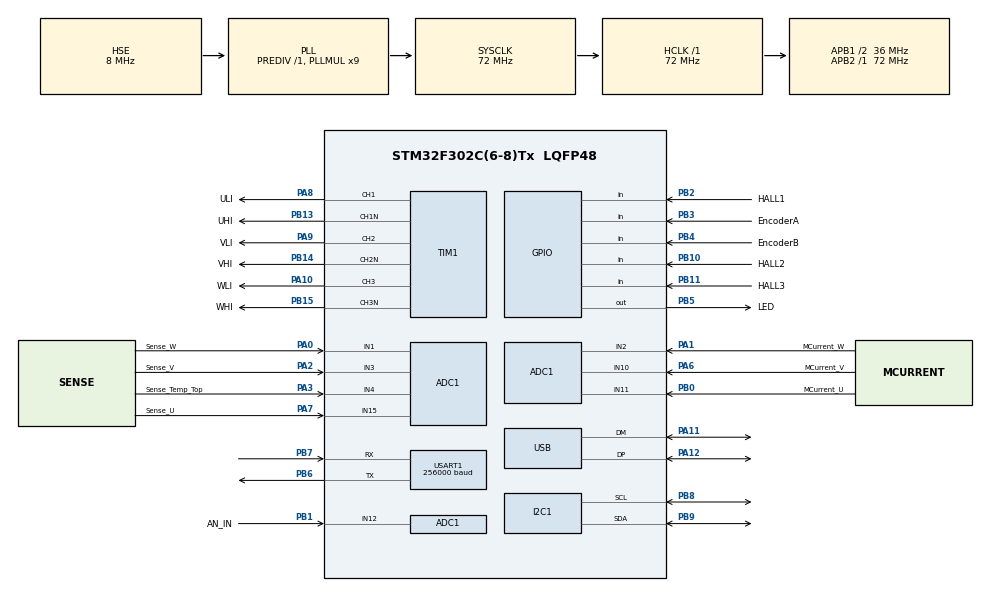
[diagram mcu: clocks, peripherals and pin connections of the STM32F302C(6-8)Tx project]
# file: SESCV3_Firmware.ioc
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ADC1.Channel-6\#ChannelRegularConversion=ADC_CHANNEL_11
ADC1.Channel-7\#ChannelRegularConversion=ADC_CHANNEL_10
ADC1.Channel-8\#ChannelRegularConversion=ADC_CHANNEL_2
ADC1.DMAContinuousRequests=ENABLE
ADC1.EnableInjectedConversion=ENABLE
ADC1.EnableRegularConversion=ENABLE
ADC1.ExternalTrigConv=ADC_EXTERNALTRIGCONV_T1_TRGO2
ADC1.ExternalTrigConvEdge=ADC_EXTERNALTRIGCONVEDGE_RISING
ADC1.InjNumberOfConversion=1
ADC1.InjectedChannel-9\#ChannelInjectedConversion=ADC_CHANNEL_12
ADC1.InjectedOffset-9\#ChannelInjectedConversion=0
ADC1.InjectedOffsetNumber-9\#ChannelInjectedConversion=ADC_OFFSET_NONE
ADC1.InjectedRank-9\#ChannelInjectedConversion=1
ADC1.InjectedSamplingTime-9\#ChannelInjectedConversion=ADC_SAMPLETIME_601CYCLES_5
ADC1.InjectedSamplingTimeOPAMP-9\#ChannelInjectedConversion=ADC_SAMPLETIME_61CYCLES_5
ADC1.NbrOfConversion=3
ADC1.NbrOfConversionFlag=1
ADC1.Offset-6\#ChannelRegularConversion=0
ADC1.Offset-7\#ChannelRegularConversion=0
ADC1.Offset-8\#ChannelRegularConversion=0
ADC1.OffsetNumber-6\#ChannelRegularConversion=ADC_OFFSET_NONE
ADC1.OffsetNumber-7\#ChannelRegularConversion=ADC_OFFSET_NONE
ADC1.OffsetNumber-8\#ChannelRegularConversion=ADC_OFFSET_NONE
ADC1.Rank-6\#ChannelRegularConversion=1
ADC1.Rank-7\#ChannelRegularConversion=2
ADC1.Rank-8\#ChannelRegularConversion=3
ADC1.Rank1_Channel=ADC_CHANNEL_12
ADC1.Rank2_Channel=ADC_CHANNEL_10
ADC1.Rank3_Channel=ADC_CHANNEL_2
ADC1.SamplingTime-6\#ChannelRegularConversion=ADC_SAMPLETIME_19CYCLES_5
ADC1.SamplingTime-7\#ChannelRegularConversion=ADC_SAMPLETIME_19CYCLES_5
ADC1.SamplingTime-8\#ChannelRegularConversion=ADC_SAMPLETIME_19CYCLES_5
ADC1.SamplingTimeOPAMP-6\#ChannelRegularConversion=ADC_SAMPLETIME_61CYCLES_5
ADC1.SamplingTimeOPAMP-7\#ChannelRegularConversion=ADC_SAMPLETIME_61CYCLES_5
ADC1.SamplingTimeOPAMP-8\#ChannelRegularConversion=ADC_SAMPLETIME_61CYCLES_5
ADC1.SubFamily=STM32F302x8
ADC1.master=1
ARM.CMSIS.5.6.0.CMSISJjDSP=Library
Dma.ADC1.0.Direction=DMA_PERIPH_TO_MEMORY
Dma.ADC1.0.Instance=DMA1_Channel1
Dma.ADC1.0.MemDataAlignment=DMA_MDATAALIGN_HALFWORD
Dma.ADC1.0.MemInc=DMA_MINC_ENABLE
Dma.ADC1.0.Mode=DMA_NORMAL
Dma.ADC1.0.PeriphDataAlignment=DMA_PDATAALIGN_HALFWORD
Dma.ADC1.0.PeriphInc=DMA_PINC_DISABLE
Dma.ADC1.0.Priority=DMA_PRIORITY_HIGH
Dma.Request0=ADC1
Dma.Request1=USART1_TX
Dma.USART1_TX.1.Direction=DMA_MEMORY_TO_PERIPH
Dma.USART1_TX.1.Instance=DMA1_Channel4
Dma.USART1_TX.1.MemDataAlignment=DMA_MDATAALIGN_BYTE
Dma.USART1_TX.1.MemInc=DMA_MINC_ENABLE
Dma.USART1_TX.1.Mode=DMA_NORMAL
Dma.USART1_TX.1.PeriphDataAlignment=DMA_PDATAALIGN_BYTE
Dma.USART1_TX.1.PeriphInc=DMA_PINC_DISABLE
Dma.USART1_TX.1.Priority=DMA_PRIORITY_LOW
I2C1.Timing=0x10808DD3
Mcu.Family=STM32F3
Mcu.Name=STM32F302C(6-8)Tx
Mcu.Package=LQFP48
NVIC.ADC1_IRQn=true\:0\:0\:false\:false\:true\:true\:true\:true
NVIC.DMA1_Channel1_IRQn=true\:0\:0\:false\:false\:true\:false\:true\:true
NVIC.DMA1_Channel4_IRQn=true\:0\:0\:false\:false\:true\:false\:true\:true
NVIC.PriorityGroup=NVIC_PRIORITYGROUP_4
NVIC.TIM1_BRK_TIM15_IRQn=true\:0\:0\:false\:false\:true\:false\:true\:true
NVIC.TIM1_UP_TIM16_IRQn=true\:0\:0\:false\:false\:true\:true\:true\:true
NVIC.USART1_IRQn=true\:0\:0\:false\:false\:true\:true\:true\:true
NVIC.USB_LP_IRQn=true\:0\:0\:false\:false\:true\:false\:true\:true
PA0.GPIO_Label=Sense_W
PA0.Mode=IN1-Single-Ended
PA0.Signal=ADC1_IN1
PA1.GPIO_Label=MCurrent_W
PA1.Mode=IN2-Single-Ended
PA1.Signal=ADC1_IN2
PA10.GPIO_Label=WLI
PA10.Signal=S_TIM1_CH3
PA11.Mode=Device
PA11.Signal=USB_DM
PA12.Mode=Device
PA12.Signal=USB_DP
PA13.Mode=Serial_Wire
PA13.Signal=SYS_JTMS-SWDIO
PA14.Mode=Serial_Wire
PA14.Signal=SYS_JTCK-SWCLK
PA2.GPIO_Label=Sense_V
PA2.Mode=IN3-Single-Ended
PA2.Signal=ADC1_IN3
PA3.GPIO_Label=Sense_Temp_Top
PA3.Mode=IN4-Single-Ended
PA3.Signal=ADC1_IN4
PA6.GPIO_Label=MCurrent_V
PA6.Signal=ADCx_IN10
PA7.GPIO_Label=Sense_U
PA7.Mode=IN15-Single-Ended
PA7.Signal=ADC1_IN15
PA8.GPIO_Label=ULI
PA8.Signal=S_TIM1_CH1
PA9.GPIO_Label=VLI
PA9.Signal=S_TIM1_CH2
PB0.GPIO_Label=MCurrent_U
PB0.Mode=IN11-Single-Ended
PB0.Signal=ADC1_IN11
PB1.GPIO_Label=AN_IN
PB1.Mode=IN12-Single-Ended
PB1.Signal=ADC1_IN12
PB10.GPIO_Label=HALL2
PB10.GPIO_PuPd=GPIO_PULLUP
PB10.Signal=GPIO_Input
PB11.GPIO_Label=HALL3
PB11.GPIO_PuPd=GPIO_PULLUP
PB11.Signal=GPIO_Input
PB13.GPIO_Label=UHI
PB13.Mode=PWM Generation1 CH1 CH1N
PB13.Signal=TIM1_CH1N
PB14.GPIO_Label=VHI
PB14.Mode=PWM Generation2 CH2 CH2N
PB14.Signal=TIM1_CH2N
PB15.GPIO_Label=WHI
PB15.Mode=PWM Generation3 CH3 CH3N
PB15.Signal=TIM1_CH3N
PB2.GPIO_Label=HALL1
PB2.GPIO_PuPd=GPIO_PULLUP
PB2.Signal=GPIO_Input
PB3.GPIO_Label=EncoderA
PB3.GPIO_PuPd=GPIO_PULLUP
PB3.Signal=GPIO_Input
PB4.GPIO_Label=EncoderB
PB4.GPIO_PuPd=GPIO_PULLUP
PB4.Signal=GPIO_Input
PB5.GPIO_Label=LED
PB5.Signal=GPIO_Output
PB6.Mode=Asynchronous
PB6.Signal=USART1_TX
PB7.Mode=Asynchronous
PB7.Signal=USART1_RX
PB8.Mode=I2C
PB8.Signal=I2C1_SCL
PB9.Mode=I2C
PB9.Signal=I2C1_SDA
PF0-OSC_IN.Mode=HSE-External-Clock-Source
PF0-OSC_IN.Signal=RCC_OSC_IN
ProjectManager.HeapSize=0x200
ProjectManager.StackSize=0x400
ProjectManager.TargetToolchain=Makefile
RCC.AHBFreq_Value=72000000
RCC.APB1CLKDivider=RCC_HCLK_DIV2
RCC.APB1Freq_Value=36000000
RCC.APB1TimFreq_Value=72000000
RCC.APB2Freq_Value=72000000
RCC.APB2TimFreq_Value=72000000
RCC.CortexFreq_Value=72000000
RCC.HCLKFreq_Value=72000000
RCC.HSE_VALUE=8000000
RCC.HSI_VALUE=8000000
RCC.I2c1ClockSelection=RCC_I2C1CLKSOURCE_SYSCLK
RCC.LSE_VALUE=32768
RCC.PLLMUL=RCC_PLL_MUL9
RCC.PRESCALERUSB=RCC_USBCLKSOURCE_PLL_DIV1_5
RCC.SYSCLKFreq_VALUE=72000000
RCC.SYSCLKSourceVirtual=RCC_SYSCLKSOURCE_PLLCLK
RCC.TIM1Selection=RCC_TIM1CLK_PLLCLK
RCC.USBFreq_Value=48000000
RCC.Usart1ClockSelection=RCC_USART1CLKSOURCE_SYSCLK
SH.ADCx_IN10.0=ADC1_IN10,IN10-Single-Ended
SH.S_TIM1_CH1.0=TIM1_CH1,PWM Generation1 CH1 CH1N
SH.S_TIM1_CH2.0=TIM1_CH2,PWM Generation2 CH2 CH2N
SH.S_TIM1_CH3.0=TIM1_CH3,PWM Generation3 CH3 CH3N
TIM1.BreakState=TIM_BREAK_ENABLE
TIM1.Channel-PWM\ Generation1\ CH1\ CH1N=TIM_CHANNEL_1
TIM1.Channel-PWM\ Generation2\ CH2\ CH2N=TIM_CHANNEL_2
TIM1.Channel-PWM\ Generation3\ CH3\ CH3N=TIM_CHANNEL_3
TIM1.CounterMode=TIM_COUNTERMODE_CENTERALIGNED1
TIM1.Pulse-PWM\ Generation1\ CH1\ CH1N=32768
TIM1.Pulse-PWM\ Generation2\ CH2\ CH2N=32768
TIM1.Pulse-PWM\ Generation3\ CH3\ CH3N=32768
TIM1.TIM_MasterOutputTrigger2=TIM_TRGO2_UPDATE
TIM1.TIM_MasterSlaveMode=TIM_MASTERSLAVEMODE_ENABLE
TIM6.Prescaler=107
USART1.BaudRate=256000
USART1.VirtualMode-Asynchronous=VM_ASYNC
USB_DEVICE.APP_RX_DATA_SIZE=128
USB_DEVICE.APP_TX_DATA_SIZE=128
USB_DEVICE.CLASS_NAME_FS=CDC
USB_DEVICE.VirtualMode=Cdc
USB_DEVICE.VirtualModeFS=Cdc_FS
VP_ARM.CMSIS_VS_CMSISJjDSP_1.7.0_5.6.0.Mode=CMSISJjDSP
VP_TIM15_VS_ClockSourceINT.Mode=Internal
VP_TIM1_VS_ClockSourceINT.Mode=Internal
VP_TIM6_VS_ClockSourceINT.Mode=Enable_Timer
VP_USB_DEVICE_VS_USB_DEVICE_CDC_FS.Mode=CDC_FS
board=custom

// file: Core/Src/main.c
/* USER CODE BEGIN Header */
/**
  ******************************************************************************
  * @file           : main.c
  * @brief          : Main program body
  ******************************************************************************
  * @attention
  *
  * Copyright (c) 2022 STMicroelectronics.
  * All rights reserved.
  *
  * This software is licensed under terms that can be found in the LICENSE file
  * in the root directory of this software component.
  * If no LICENSE file comes with this software, it is provided AS-IS.
  *
  ******************************************************************************
  */
/* USER CODE END Header */
#include "main.h"
#include "adc.h"
#include "dma.h"
#include "i2c.h"
#include "tim.h"
#include "usart.h"
#include "usb_device.h"
#include "gpio.h"

/* USER CODE BEGIN Includes */
#include "SVM.h"
#include "phaseEstimater.h"
#include "Park_u_Clark.h"
#include <math.h>
#include "encoder.h"
#include "uart_debug.h"
#include "usbd_cdc_if.h"
/* USER CODE END Includes */

/* USER CODE BEGIN PM */
#define PI_Control_k 1

int16_t PI_control(int32_t error){
 return (error*PI_Control_k)>>10;
}
/* USER CODE END PM */

void SystemClock_Config(void);

/* USER CODE BEGIN 0 */
uint16_t TIM_PSC=0;
int32_t phaseshift = 90;
/* USER CODE END 0 */

int main(void)
{

  /* MCU Configuration--------------------------------------------------------*/

  /* Reset of all peripherals, Initializes the Flash interface and the Systick. */
  HAL_Init();

  /* Configure the system clock */
  SystemClock_Config();

  /* Initialize all configured peripherals */
  MX_DMA_Init();
  MX_GPIO_Init();
  MX_ADC1_Init();
  MX_I2C1_Init();
  MX_TIM1_Init();
  MX_TIM6_Init();
  MX_USB_DEVICE_Init();
  MX_TIM15_Init();
  MX_USART1_UART_Init();
  /* USER CODE BEGIN 2 */

  uint16_t setpoint=20;

  initSVM(PWM_Frequency);
  init_phase_estimater();

  HAL_ADC_Start_DMA(&hadc1,Motor.MotorCurrents.ADC_VAL_PhaseCurrents,3);
  /* USER CODE END 2 */

  UART_writeLine("SESC V3");
  /* Infinite loop */
  while (1)
  {

    /* USER CODE BEGIN 3 */
	 static uint32_t i=0;
	 static uint8_t init_done = 0;

	setpoint = (uint16_t) readEncoder(EncoderA_GPIO_Port, EncoderA_Pin,
			EncoderB_GPIO_Port, EncoderB_Pin, 255, 0);

	if(!init_done) {
		init_done = initialize_Hallsensor_phase_estimator(setpoint);
	}
	else{

	estimate_rotor_phase(&Motor);

	phaseshift += PI_control(-Motor.MotorCurrents.DQCurrenst[1]);

	if(phaseshift>100) phaseshift=80;
	if(phaseshift<80) phaseshift=60;

	setVoltageVector(Motor.rotorphase, phaseshift, setpoint);

	if (init_done)
		HAL_GPIO_WritePin(LED_GPIO_Port, LED_Pin, GPIO_PIN_SET);
	else
		HAL_GPIO_WritePin(LED_GPIO_Port, LED_Pin, GPIO_PIN_RESET);
	}

  UART_transmit_buffer();

	TIM_PSC=SectorTIM.Instance->ARR;
  }
  /* USER CODE END 3 */
}

void SystemClock_Config(void)
{
  RCC_OscInitTypeDef RCC_OscInitStruct = {0};
  RCC_ClkInitTypeDef RCC_ClkInitStruct = {0};
  RCC_PeriphCLKInitTypeDef PeriphClkInit = {0};

  /** Initializes the RCC Oscillators according to the specified parameters
  * in the RCC_OscInitTypeDef structure.
  */
  RCC_OscInitStruct.OscillatorType = RCC_OSCILLATORTYPE_HSE;
  RCC_OscInitStruct.HSEState = RCC_HSE_BYPASS;
  RCC_OscInitStruct.HSEPredivValue = RCC_HSE_PREDIV_DIV1;
  RCC_OscInitStruct.HSIState = RCC_HSI_ON;
  RCC_OscInitStruct.PLL.PLLState = RCC_PLL_ON;
  RCC_OscInitStruct.PLL.PLLSource = RCC_PLLSOURCE_HSE;
  RCC_OscInitStruct.PLL.PLLMUL = RCC_PLL_MUL9;
  if (HAL_RCC_OscConfig(&RCC_OscInitStruct) != HAL_OK)
  {
    Error_Handler();
  }
  /** Initializes the CPU, AHB and APB buses clocks
  */
  RCC_ClkInitStruct.ClockType = RCC_CLOCKTYPE_HCLK|RCC_CLOCKTYPE_SYSCLK
                              |RCC_CLOCKTYPE_PCLK1|RCC_CLOCKTYPE_PCLK2;
  RCC_ClkInitStruct.SYSCLKSource = RCC_SYSCLKSOURCE_PLLCLK;
  RCC_ClkInitStruct.AHBCLKDivider = RCC_SYSCLK_DIV1;
  RCC_ClkInitStruct.APB1CLKDivider = RCC_HCLK_DIV2;
  RCC_ClkInitStruct.APB2CLKDivider = RCC_HCLK_DIV1;

  if (HAL_RCC_ClockConfig(&RCC_ClkInitStruct, FLASH_LATENCY_2) != HAL_OK)
  {
    Error_Handler();
  }
  PeriphClkInit.PeriphClockSelection = RCC_PERIPHCLK_USB|RCC_PERIPHCLK_USART1
                              |RCC_PERIPHCLK_I2C1|RCC_PERIPHCLK_TIM1
                              |RCC_PERIPHCLK_TIM15|RCC_PERIPHCLK_ADC1;
  PeriphClkInit.Usart1ClockSelection = RCC_USART1CLKSOURCE_SYSCLK;
  PeriphClkInit.I2c1ClockSelection = RCC_I2C1CLKSOURCE_SYSCLK;
  PeriphClkInit.USBClockSelection = RCC_USBCLKSOURCE_PLL_DIV1_5;
  PeriphClkInit.Tim1ClockSelection = RCC_TIM1CLK_PLLCLK;
  PeriphClkInit.Tim15ClockSelection = RCC_TIM15CLK_HCLK;
  PeriphClkInit.Adc1ClockSelection = RCC_ADC1PLLCLK_DIV1;

  if (HAL_RCCEx_PeriphCLKConfig(&PeriphClkInit) != HAL_OK)
  {
    Error_Handler();
  }
}

void Error_Handler(void)
{
  /* USER CODE BEGIN Error_Handler_Debug */
  /* User can add his own implementation to report the HAL error return state */
  __disable_irq();
  while (1)
  {
	  HAL_Delay(100);
	  HAL_GPIO_TogglePin(LED_GPIO_Port, LED_Pin);
  }
  /* USER CODE END Error_Handler_Debug */
}
